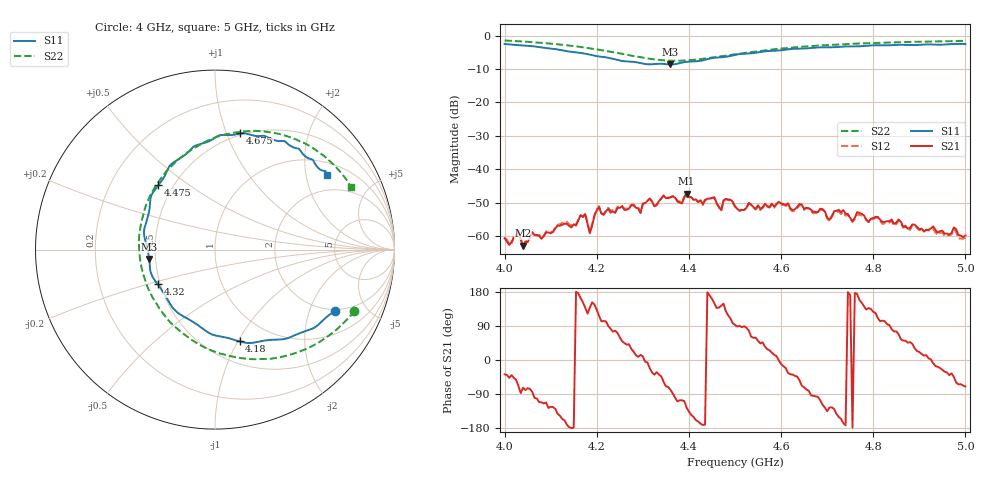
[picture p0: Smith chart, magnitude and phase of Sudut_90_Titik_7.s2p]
# Hz S RI R 50
! CMT, C1220, 16058040, 17.2.0/1
! Date: 15/08/2018 12:01:32
! Data: Format (Calibration Info)
! Freq  S11: Re/Im (F2)  S21: Re/Im (F2)  S12: Re/Im (F2)  S22: Re/Im (F2)
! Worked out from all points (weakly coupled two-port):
!   201 points, 4 GHz to 5 GHz, reference 50 ohm
!   highest |S21| = -47.33 dB at 4.395 GHz (marker M1); lowest = -63.0 dB at 4.04 GHz (marker M2)
!   lowest |S11| = -8.6 dB at 4.36 GHz (marker M3), VSWR 2.18, Z = 23.1 - j2.75 ohm
!   |S11| at or under -10 dB: nowhere
!   |S22| runs from -7.5 to -1.4 dB; largest |S21 - S12| = 0.00019
!   S11 on the Smith chart (normalised r, x): 4 GHz: 1.93, -3.02; 4.18 GHz: 0.72, -1.02; 4.32 GHz: 0.48, -0.22; 4.475 GHz: 0.41, +0.39; 4.675 GHz: 0.48, +1.12; 5 GHz: 1.40, +2.65
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4e9  0.6686 -0.3414  0.000729 -0.000566  0.000765 -0.000561  0.7768 -0.3411
4.015e9  0.6407 -0.3612  0.000622 -0.00052  0.000618 -0.000443  0.7492 -0.3745
4.03e9  0.6081 -0.388  0.000423 -0.00109  0.000466 -0.00109  0.7191 -0.4056
4.04e9  0.5852 -0.4099  0.000207 -0.00068  0.000233 -0.000662  0.6973 -0.4269
4.06e9  0.5388 -0.4417  0.000114 -0.00113  0.000125 -0.00113  0.6503 -0.4674
4.17e9  0.1686 -0.5189  -0.0017 0.0009  -0.00172 0.000876  0.2787 -0.609
4.18e9  0.1367 -0.5114  -0.000805 0.00127  -0.000787 0.00135  0.2371 -0.61
4.185e9  0.1191 -0.5064  -0.000821 0.000726  -0.000877 0.00072  0.2155 -0.6108
4.205e9  0.0416 -0.4858  -0.00119 0.00241  -0.00127 0.00248  0.1279 -0.6018
4.295e9  -0.2558 -0.2927  0.00216 0.000524  0.00217 0.000434  -0.2476 -0.4073
4.32e9  -0.3186 -0.1937  0.00273 -0.00176  0.00275 -0.00184  -0.3227 -0.307
4.335e9  -0.3513 -0.1443  0.0026 -0.00207  0.00264 -0.00209  -0.361 -0.2407
4.36e9  -0.3669 -0.0515  0.000719 -0.00371  0.000702 -0.00378  -0.4046 -0.1192
4.395e9  -0.3959 0.0904  -0.00252 -0.00348  -0.00262 -0.00343  -0.4234 0.0535
4.455e9  -0.3532 0.3051  -0.0033 0.00189  -0.0032 0.00195  -0.3493 0.3217
4.47e9  -0.3274 0.3427  -0.00197 0.00147  -0.00183 0.00144  -0.3161 0.3759
4.475e9  -0.3157 0.3589  -0.0029 0.00176  -0.00281 0.00177  -0.3042 0.3923
4.5e9  -0.2646 0.4428  -0.000129 0.00279  -0.000131 0.00274  -0.2399 0.4685
4.67e9  0.1294 0.645  -0.000176 -0.00229  -0.000185 -0.00217  0.2388 0.6609
4.675e9  0.1394 0.6479  -0.000229 -0.00229  -0.000262 -0.0022  0.2514 0.6601
4.835e9  0.4362 0.5698  -5.99e-05 0.00166  -5.35e-05 0.00159  0.5737 0.5463
5e9  0.6249 0.4146  0.000346 -0.000953  0.000369 -0.000855  0.7591 0.3488
